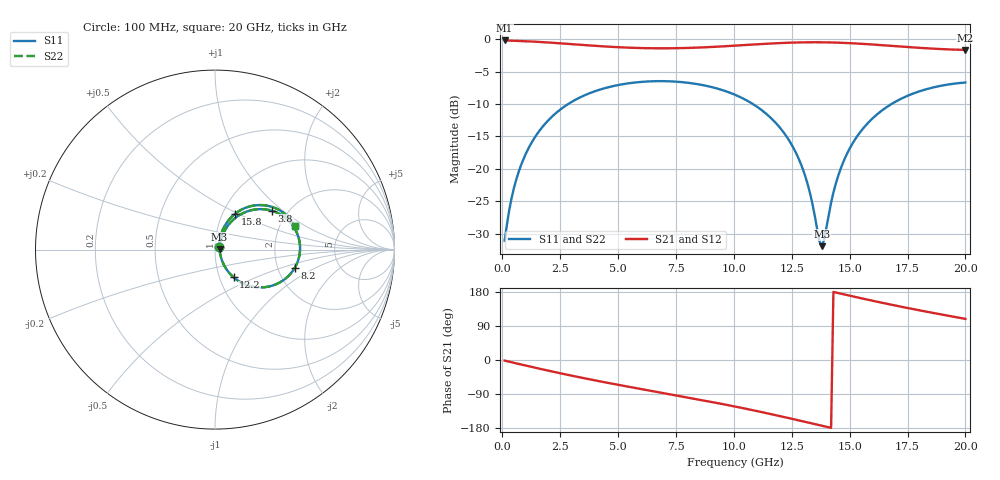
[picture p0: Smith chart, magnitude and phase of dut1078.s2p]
! Touchstone file exported from HFSS 2026.1.0
!  File:  C:/ffzhzh/LocalFiles/Ansys_Project_Files/temp_train_TSV_RDL_1078_1783300271_5512.aedt
!  Generated:  09:21:32 AM Jul  6, 2026
!  Design:  TSV_RDL
!  Project:  temp_train_TSV_RDL_1078_1783300271_5512
! Variables:
!  h_bsmrdl = 3.08um
!  h_ox = 20um
!  h_rdl = 5um
!  h_sub = 61.42um
!  h_tmrdl = 3.75um
!  h_tsv = 61.42um
!  h_via = 3um
!  l_bsmrdl = 312.92um
!  l_sub = 4354.46um
!  l_tmrdl = 725.71um
!  m_sub = 200um
!  pitch = 35.11um
!  r_tsv = 5.86um
!  s_tmrdl = 10um
!  w_bsmrdl = 22.15um
!  w_sub = 500um
!  w_tmrdl = 15.47um
!  x_tsv_center1 = 733.445um
!  x_tsv_center2 = 1068.515um
!  x_tsv_center3 = 1809.695um
!  x_tsv_center4 = 2144.765um
!  x_tsv_center5 = 2885.945um
!  x_tsv_center6 = 3221.015um
# GHz S MA R 50.000000
! Terminal data exported
! Port[1] = TM_RDL1_1_T1
! Port[2] = TM_RDL5_1_T1
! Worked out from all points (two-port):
!   200 points, 100 MHz to 20 GHz, reference 50 ohm
!   highest |S21| = -0.21 dB at 100 MHz (marker M1); lowest = -1.7 dB at 20 GHz (marker M2)
!   |S21| within 3 dB of the highest: start of sweep to end of sweep
!   lowest |S11| = -31.9 dB at 13.8 GHz (marker M3), VSWR 1.05, Z = 52.6 + j0.302 ohm
!   |S11| at or under -10 dB: start of sweep to 2.851 GHz; 10.82 GHz to 16.81 GHz (5.993 GHz wide, 43.4 % of centre)
!   |S22| runs from -31.9 to -6.5 dB; largest |S21 - S12| = 1.7e-14
!   S11 on the Smith chart (normalised r, x): 100 MHz: 1.05, +0.03; 3.8 GHz: 1.66, +0.84; 8.2 GHz: 2.49, -0.63; 12.2 GHz: 1.17, -0.37; 15.8 GHz: 1.14, +0.48; 20 GHz: 2.41, +0.80
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0.1  0.02804 28.4  0.9756 -1.5  0.9756 -1.5  0.02804 28.4
! Gamma 0 0 0 0
! Port Impedance 50 0 50 0
0.5  0.07085 60.0  0.9702 -7.4  0.9702 -7.4  0.07084 60.0
1.2  0.1518 61.7  0.9587 -17.3  0.9587 -17.3  0.1518 61.7
2.2  0.2579 52.3  0.9357 -31.0  0.9357 -31.0  0.2579 52.3
3.5  0.3651 37.6  0.9 -47.7  0.9 -47.7  0.3651 37.6
3.8  0.3845 34.2  0.8921 -51.3  0.8921 -51.3  0.3845 34.2
6.8  0.4741 2.0  0.8485 -85.5  0.8485 -85.5  0.4741 2.0
8.2  0.4561 -12.8  0.8564 -101.0  0.8564 -101.0  0.4561 -12.8
10.1  0.3691 -33.6  0.8908 -123.4  0.8908 -123.4  0.3691 -33.6
11.3  0.2748 -47.0  0.9179 -138.7  0.9179 -138.7  0.2748 -47.0
12.2  0.1856 -56.2  0.9347 -150.9  0.9347 -150.9  0.1856 -56.2
12.9  0.1085 -60.0  0.9428 -160.7  0.9428 -160.7  0.1085 -60.0
13.4  0.05317 -51.9  0.9449 -167.7  0.9449 -167.7  0.05316 -51.8
13.7  0.02762 -17.8  0.9447 -172.0  0.9447 -172.0  0.02763 -17.7
13.8  0.02539 6.5  0.9443 -173.4  0.9443 -173.4  0.02541 6.5
14.3  0.06559 64.6  0.9406 179.5  0.9406 179.5  0.06561 64.6
14.6  0.09882 68.4  0.9368 175.3  0.9368 175.3  0.09884 68.4
15.1  0.154 67.1  0.9283 168.4  0.9283 168.4  0.1541 67.1
15.8  0.2265 60.9  0.9128 158.9  0.9128 158.9  0.2265 61.0
16.7  0.3073 51.4  0.8894 147.2  0.8894 147.2  0.3073 51.4
18.2  0.4053 35.1  0.8518 128.9  0.8518 128.9  0.4053 35.1
20  0.4627 16.3  0.8247 108.6  0.8247 108.6  0.4627 16.3
